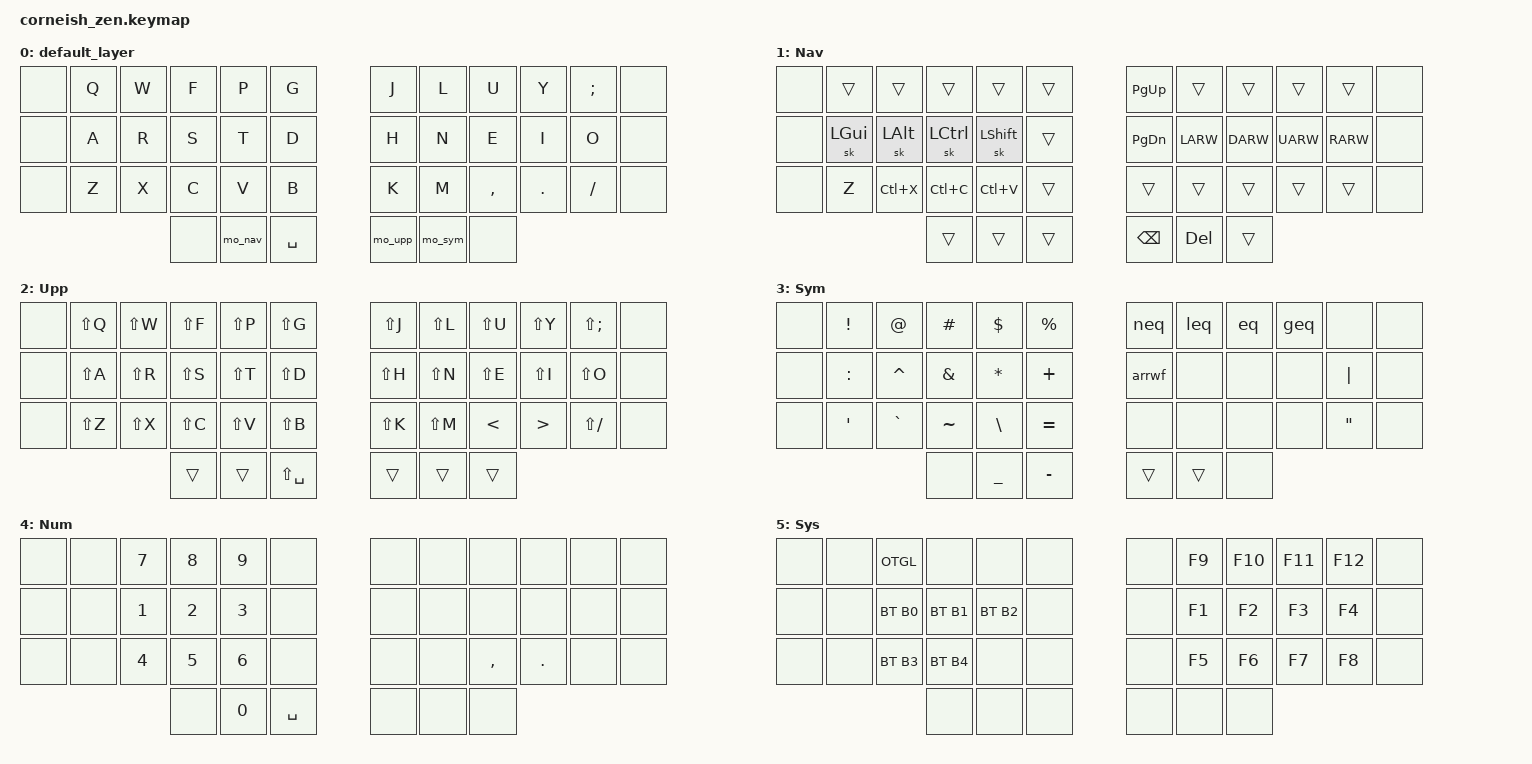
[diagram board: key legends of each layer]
#include <behaviors.dtsi>
#include <dt-bindings/zmk/keys.h>
#include <dt-bindings/zmk/bt.h>
#include <dt-bindings/zmk/ext_power.h>
#include <dt-bindings/zmk/outputs.h>

/ {
  chosen {
    zmk,matrix_transform = &default_transform;
    //zmk,matrix_transform = &five_column_transform;
  };
};

#define DEF_L 0
#define NAV_L 1
#define UPP_L 2
#define SYM_L 3
#define NUM_L 4
#define SYS_L 5

#define B0     BT_SEL 0
#define B1     BT_SEL 1
#define B2     BT_SEL 2
#define B3     BT_SEL 3
#define B4     BT_SEL 4
#define OTGL   out OUT_TOG

&caps_word {
  continue-list = <UNDERSCORE MINUS BACKSPACE>;
};

&sk {
  release-after-ms = <60000>;
};

/ {
    ZMK_MACRO(mo_nav,
        wait-ms = <0>;
        tap-ms = <0>;
        bindings
        = <&macro_tap &kp K_CANCEL>
        , <&macro_press &mo NAV_L>
        , <&macro_pause_for_release>
        , <&macro_release &mo NAV_L>;)

    ZMK_MACRO(mo_upp,
        wait-ms = <0>;
        tap-ms = <0>;
        bindings
        = <&macro_tap &kp K_CANCEL>
        , <&macro_press &mo UPP_L>
        , <&macro_pause_for_release>
        , <&macro_release &mo UPP_L>;)

    ZMK_MACRO(mo_sym,
        wait-ms = <0>;
        tap-ms = <0>;
        bindings
        = <&macro_tap &kp K_CANCEL>
        , <&macro_press &mo SYM_L>
        , <&macro_pause_for_release>
        , <&macro_release &mo SYM_L>;)

    ZMK_MACRO(mo_sys,
        wait-ms = <0>;
        tap-ms = <0>;
        bindings
        = <&macro_tap &kp K_CANCEL>
        , <&macro_press &mo SYS_L>
        , <&macro_pause_for_release>
        , <&macro_release &mo SYS_L>;)

    ZMK_MACRO(leq,
        wait-ms = <30>;
        tap-ms = <40>;
        bindings = <&kp LT &kp EQUAL>;)

    ZMK_MACRO(eq,
        wait-ms = <30>;
        tap-ms = <40>;
        bindings = <&kp EQUAL &kp EQUAL>;)

    ZMK_MACRO(geq,
        wait-ms = <30>;
        tap-ms = <40>;
        bindings = <&kp GT &kp EQUAL>;)

    ZMK_MACRO(neq,
        wait-ms = <30>;
        tap-ms = <40>;
        bindings = <&kp EXCL &kp EQUAL>;)

    ZMK_MACRO(arrwf,
        wait-ms = <30>;
        tap-ms = <40>;
        bindings = <&kp EQUAL &kp GT>;)

    ZMK_MACRO(wclip,
        wait-ms = <30>;
        tap-ms = <40>;
        bindings 
        = <&macro_press &kp LGUI>
        , <&macro_press &kp LSHFT>
        , <&macro_press &kp S>
        , <&macro_release &kp LGUI &kp LSHFT &kp S>;)
        
    combos {
        compatible = "zmk,combos";

        #define COMBO(NAME, BINDINGS, KEYPOS, LAYERS) \
          combo_##NAME { \
            bindings = <BINDINGS>; \
            key-positions = <KEYPOS>; \
            layers = <LAYERS>; \
          };
        /*                KEY POSITIONS

          ╭───────────────────── ──╮ ╭────────────────────────╮
          │  0   1   2   3   4   5 | |  6   7   8   9  10  11 │
          │ 12  13  14  15  16  17 │ │ 18  19  20  21  22  23 │
          │ 24  25  26  27  28  29 │ │ 30  31  32  33  34  35 │
          ╰───────────╮ 36  37  38 │ │ 39  40  41 ╭───────────╯
                      ╰────────────╯ ╰────────────╯            */

        // Brackets
        COMBO(left_bracket, &kp LBKT, 2 14, DEF_L UPP_L SYM_L NUM_L)
        COMBO(right_bracket, &kp RBKT, 9 21, DEF_L UPP_L SYM_L NUM_L)
        COMBO(left_parenthesis, &kp LPAR, 3 15, DEF_L UPP_L SYM_L NUM_L)
        COMBO(right_parenthesis, &kp RPAR, 8 20, DEF_L UPP_L SYM_L NUM_L)
        COMBO(left_brace, &kp LBRC, 4 16, DEF_L UPP_L SYM_L NUM_L)
        COMBO(right_brace, &kp RBRC, 7 19, DEF_L UPP_L SYM_L NUM_L)

        // Convenience
        COMBO(esc, &kp ESC, 3 4, DEF_L)
        COMBO(ent, &kp ENTER, 20 21, DEF_L)
        COMBO(tab, &kp TAB, 16 17, DEF_L)
        COMBO(w_clip, &wclip, 14 15 16, DEF_L)

        COMBO(sys_l, &mo_sys, 37 38, NUM_L)
    };

    conditional_layers {
        compatible = "zmk,conditional-layers";
        tri_layer {
            if-layers = <UPP_L SYM_L>;
            then-layer = <NUM_L>;
        };
    };

    keymap {
        compatible = "zmk,keymap";

        default_layer {
            bindings = <
        // ╭─────────────┬─────────────┬─────────────┬─────────────┬─────────────┬─────────────╮   ╭─────────────┬─────────────┬─────────────┬─────────────┬─────────────┬─────────────╮
             &none         &kp Q         &kp W         &kp F         &kp P         &kp G             &kp J         &kp L         &kp U         &kp Y         &kp SEMI      &none
             &none         &kp A         &kp R         &kp S         &kp T         &kp D             &kp H         &kp N         &kp E         &kp I         &kp O         &none
             &none         &kp Z         &kp X         &kp C         &kp V         &kp B             &kp K         &kp M         &kp COMMA     &kp DOT       &kp FSLH      &none
        // ╰─────────────┴─────────────┴─────────────╮                                                                                       ╭─────────────┴─────────────┴─────────────╯
                                                       &none         &mo_nav       &kp SPACE         &mo_upp       &mo_sym       &none
        //                                           ╰─────────────┴─────────────┴─────────────╯   ╰─────────────┴─────────────┴─────────────╯
            >;
        };

        nav_layer {
            label = "Nav";
            bindings = <
        // ╭─────────────┬─────────────┬─────────────┬─────────────┬─────────────┬─────────────╮   ╭─────────────┬─────────────┬─────────────┬─────────────┬─────────────┬─────────────╮
             &none         &trans        &trans        &trans        &trans        &trans            &kp PG_UP     &trans        &trans        &trans        &trans        &none
             &none         &sk LGUI      &sk LALT      &sk LCTRL     &sk LSHFT     &trans            &kp PG_DN     &kp LARW      &kp DARW      &kp UARW      &kp RARW      &none
             &none         &kp Z         &kp LC(X)     &kp LC(C)     &kp LC(V)     &trans            &trans        &trans        &trans        &trans        &trans        &none
        // ╰─────────────┴─────────────┴─────────────╮                                                                                       ╭─────────────┴─────────────┴─────────────╯
                                                       &trans        &trans        &trans            &kp BSPC      &kp DEL       &trans
        //                                           ╰─────────────┴─────────────┴─────────────╯   ╰─────────────┴─────────────┴─────────────╯
            >;
        };

        upper_layer {
            label = "Upp";
            bindings = <
        // ╭─────────────┬─────────────┬─────────────┬─────────────┬─────────────┬─────────────╮   ╭─────────────┬─────────────┬─────────────┬─────────────┬─────────────┬─────────────╮
             &none         &kp LS(Q)     &kp LS(W)     &kp LS(F)     &kp LS(P)     &kp LS(G)         &kp LS(J)     &kp LS(L)     &kp LS(U)     &kp LS(Y)     &kp LS(SEMI)  &none
             &none         &kp LS(A)     &kp LS(R)     &kp LS(S)     &kp LS(T)     &kp LS(D)         &kp LS(H)     &kp LS(N)     &kp LS(E)     &kp LS(I)     &kp LS(O)     &none
             &none         &kp LS(Z)     &kp LS(X)     &kp LS(C)     &kp LS(V)     &kp LS(B)         &kp LS(K)     &kp LS(M)     &kp LT        &kp GT        &kp LS(FSLH)  &none
        // ╰─────────────┴─────────────┴─────────────╮                                                                                       ╭─────────────┴─────────────┴─────────────╯
                                                       &trans        &trans        &kp LS(SPACE)     &trans        &trans        &trans
        //                                           ╰─────────────┴─────────────┴─────────────╯   ╰─────────────┴─────────────┴─────────────╯
            >;
        };

        sym_layer {
            label = "Sym";
            bindings = <
        // ╭─────────────┬─────────────┬─────────────┬─────────────┬─────────────┬─────────────╮   ╭─────────────┬─────────────┬─────────────┬─────────────┬─────────────┬─────────────╮
             &none         &kp EXCL      &kp AT        &kp HASH      &kp DLLR      &kp PRCNT         &neq          &leq          &eq           &geq          &none         &none
             &none         &kp COLON     &kp CARET     &kp AMPS      &kp STAR      &kp PLUS          &arrwf        &none         &none         &none         &kp PIPE      &none
             &none         &kp SQT       &kp GRAVE     &kp TILDE     &kp BSLH      &kp EQUAL         &none         &none         &none         &none         &kp DQT       &none
        // ╰─────────────┴─────────────┴─────────────╮                                                                                       ╭─────────────┴─────────────┴─────────────╯
                                                       &none         &kp UNDER     &kp MINUS         &trans        &trans        &none
        //                                           ╰─────────────┴─────────────┴─────────────╯   ╰─────────────┴─────────────┴─────────────╯
            >;
        };
        
        num_layer {
            label = "Num";
            bindings = <
        // ╭─────────────┬─────────────┬─────────────┬─────────────┬─────────────┬─────────────╮   ╭─────────────┬─────────────┬─────────────┬─────────────┬─────────────┬─────────────╮
             &none         &none         &kp N7        &kp N8        &kp N9        &none             &none         &none         &none         &none         &none         &none
             &none         &none         &kp N1        &kp N2        &kp N3        &none             &none         &none         &none         &none         &none         &none
             &none         &none         &kp N4        &kp N5        &kp N6        &none             &none         &none         &kp COMMA     &kp DOT       &none         &none
        // ╰─────────────┴─────────────┴─────────────╮                                                                                       ╭─────────────┴─────────────┴─────────────╯
                                                       &none         &kp N0        &kp SPACE         &none         &none         &none
        //                                           ╰─────────────┴─────────────┴─────────────╯   ╰─────────────┴─────────────┴─────────────╯
            >;
        };
        
        sys_layer {
            label = "Sys";
            bindings = <
        // ╭─────────────┬─────────────┬─────────────┬─────────────┬─────────────┬─────────────╮   ╭─────────────┬─────────────┬─────────────┬─────────────┬─────────────┬─────────────╮
             &none         &none         &OTGL         &none         &none         &none             &none         &kp F9        &kp F10       &kp F11       &kp F12       &none
             &none         &none         &bt B0        &bt B1        &bt B2        &none             &none         &kp F1        &kp F2        &kp F3        &kp F4        &none
             &none         &none         &bt B3        &bt B4        &none         &none             &none         &kp F5        &kp F6        &kp F7        &kp F8        &none
        // ╰─────────────┴─────────────┴─────────────╮                                                                                       ╭─────────────┴─────────────┴─────────────╯
                                                       &none         &none         &none             &none         &none         &none
        //                                           ╰─────────────┴─────────────┴─────────────╯   ╰─────────────┴─────────────┴─────────────╯
            >;
        };
    };
};

/*
        _layer {
            label = "";
            bindings = <
        // ╭─────────────┬─────────────┬─────────────┬─────────────┬─────────────┬─────────────╮   ╭─────────────┬─────────────┬─────────────┬─────────────┬─────────────┬─────────────╮
                           &none         &none         &none         &none             &none         &kp F9        &kp F10       &kp F11
             &none         &none         &none         &none         &none             &none         &kp F1        &kp F2        &kp F3        &kp F4 
             &none         &none         &none         &none         &none             &none         &kp F5        &kp F6        &kp F7        &kp F8 
        // ╰─────────────┴─────────────┴─────────────╮                                                                                       ╭─────────────┴─────────────┴─────────────╯
                                                       &none         &none             &none         &none
        //                                           ╰─────────────┴─────────────┴─────────────╯   ╰─────────────┴─────────────┴─────────────╯
            >;
        };
*/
